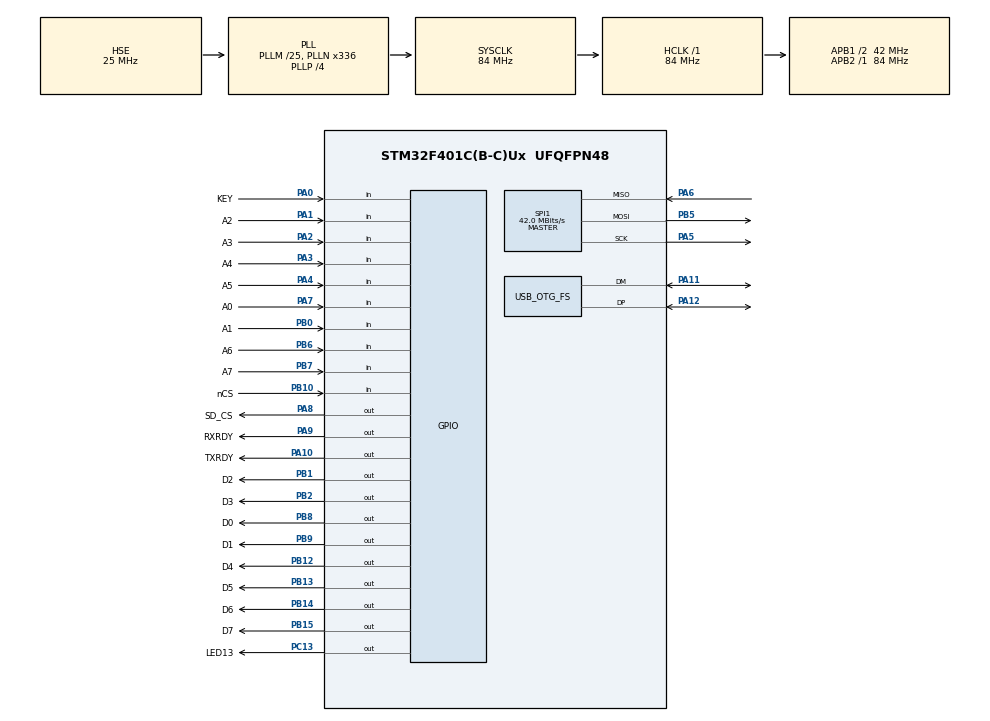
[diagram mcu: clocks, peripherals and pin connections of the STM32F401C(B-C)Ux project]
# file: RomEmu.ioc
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Mcu.Family=STM32F4
Mcu.Name=STM32F401C(B-C)Ux
Mcu.Package=UFQFPN48
NVIC.OTG_FS_IRQn=true\:0\:0\:false\:false\:true\:false\:true\:true
NVIC.PriorityGroup=NVIC_PRIORITYGROUP_4
PA0-WKUP.GPIO_Label=KEY
PA0-WKUP.GPIO_PuPd=GPIO_PULLUP
PA0-WKUP.Signal=GPIO_Input
PA1.GPIO_Label=A2
PA1.Signal=GPIO_Input
PA10.GPIO_Label=TXRDY
PA10.GPIO_Speed=GPIO_SPEED_FREQ_LOW
PA10.PinState=GPIO_PIN_SET
PA10.Signal=GPIO_Output
PA11.Mode=Device_Only
PA11.Signal=USB_OTG_FS_DM
PA12.Mode=Device_Only
PA12.Signal=USB_OTG_FS_DP
PA13.Mode=Serial_Wire
PA13.Signal=SYS_JTMS-SWDIO
PA14.Mode=Serial_Wire
PA14.Signal=SYS_JTCK-SWCLK
PA2.GPIO_Label=A3
PA2.Signal=GPIO_Input
PA3.GPIO_Label=A4
PA3.Signal=GPIO_Input
PA4.GPIO_Label=A5
PA4.Signal=GPIO_Input
PA5.Mode=Full_Duplex_Master
PA5.Signal=SPI1_SCK
PA6.Mode=Full_Duplex_Master
PA6.Signal=SPI1_MISO
PA7.GPIO_Label=A0
PA7.Signal=GPIO_Input
PA8.GPIO_Label=SD_CS
PA8.GPIO_Speed=GPIO_SPEED_FREQ_HIGH
PA8.PinState=GPIO_PIN_SET
PA8.Signal=GPIO_Output
PA9.GPIO_Label=RXRDY
PA9.GPIO_Speed=GPIO_SPEED_FREQ_LOW
PA9.PinState=GPIO_PIN_SET
PA9.Signal=GPIO_Output
PB0.GPIO_Label=A1
PB0.Signal=GPIO_Input
PB1.GPIO_Label=D2
PB1.GPIO_Speed=GPIO_SPEED_FREQ_HIGH
PB1.Signal=GPIO_Output
PB10.GPIO_Label=nCS
PB10.GPIO_PuPd=GPIO_PULLUP
PB10.Signal=GPIO_Input
PB12.GPIO_Label=D4
PB12.GPIO_Speed=GPIO_SPEED_FREQ_HIGH
PB12.Signal=GPIO_Output
PB13.GPIO_Label=D5
PB13.GPIO_Speed=GPIO_SPEED_FREQ_HIGH
PB13.Signal=GPIO_Output
PB14.GPIO_Label=D6
PB14.GPIO_Speed=GPIO_SPEED_FREQ_HIGH
PB14.Signal=GPIO_Output
PB15.GPIO_Label=D7
PB15.GPIO_Speed=GPIO_SPEED_FREQ_HIGH
PB15.Signal=GPIO_Output
PB2.GPIO_Label=D3
PB2.GPIO_Speed=GPIO_SPEED_FREQ_HIGH
PB2.Signal=GPIO_Output
PB5.Mode=Full_Duplex_Master
PB5.Signal=SPI1_MOSI
PB6.GPIO_Label=A6
PB6.Signal=GPIO_Input
PB7.GPIO_Label=A7
PB7.Signal=GPIO_Input
PB8.GPIO_Label=D0
PB8.GPIO_Speed=GPIO_SPEED_FREQ_HIGH
PB8.Signal=GPIO_Output
PB9.GPIO_Label=D1
PB9.GPIO_Speed=GPIO_SPEED_FREQ_HIGH
PB9.Signal=GPIO_Output
PC13-ANTI_TAMP.GPIO_Label=LED13
PC13-ANTI_TAMP.PinState=GPIO_PIN_SET
PC13-ANTI_TAMP.Signal=GPIO_Output
PC14-OSC32_IN.Mode=LSE-External-Oscillator
PC14-OSC32_IN.Signal=RCC_OSC32_IN
PC15-OSC32_OUT.Mode=LSE-External-Oscillator
PC15-OSC32_OUT.Signal=RCC_OSC32_OUT
PH0\ -\ OSC_IN.Mode=HSE-External-Oscillator
PH0\ -\ OSC_IN.Signal=RCC_OSC_IN
PH1\ -\ OSC_OUT.Mode=HSE-External-Oscillator
PH1\ -\ OSC_OUT.Signal=RCC_OSC_OUT
ProjectManager.HeapSize=0x200
ProjectManager.StackSize=0x400
ProjectManager.TargetToolchain=STM32CubeIDE
RCC.48MHZClocksFreq_Value=48000000
RCC.AHBFreq_Value=84000000
RCC.APB1CLKDivider=RCC_HCLK_DIV2
RCC.APB1Freq_Value=42000000
RCC.APB1TimFreq_Value=84000000
RCC.APB2Freq_Value=84000000
RCC.APB2TimFreq_Value=84000000
RCC.CortexFreq_Value=84000000
RCC.HCLKFreq_Value=84000000
RCC.HSE_VALUE=25000000
RCC.HSI_VALUE=16000000
RCC.PLLM=25
RCC.PLLN=336
RCC.PLLP=RCC_PLLP_DIV4
RCC.PLLQ=7
RCC.RCC_RTC_Clock_Source=RCC_RTCCLKSOURCE_LSE
RCC.RCC_RTC_Clock_SourceVirtual=RCC_RTCCLKSOURCE_LSE
RCC.SYSCLKFreq_VALUE=84000000
RCC.SYSCLKSource=RCC_SYSCLKSOURCE_PLLCLK
RCC.VCOOutputFreq_Value=336000000
SPI1.CalculateBaudRate=42.0 MBits/s
SPI1.Direction=SPI_DIRECTION_2LINES
SPI1.Mode=SPI_MODE_MASTER
SPI1.VirtualType=VM_MASTER
USB_DEVICE.CLASS_NAME_FS=CDC
USB_DEVICE.VirtualMode=Cdc
USB_DEVICE.VirtualModeFS=Cdc_FS
USB_OTG_FS.VirtualMode=Device_Only
VP_RTC_VS_RTC_Activate.Mode=RTC_Enabled
VP_RTC_VS_RTC_Calendar.Mode=RTC_Calendar
VP_USB_DEVICE_VS_USB_DEVICE_CDC_FS.Mode=CDC_FS
board=custom

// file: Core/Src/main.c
/* USER CODE BEGIN Header */
/**
 ******************************************************************************
 * @file           : main.c
 * @brief          : Main program body
 ******************************************************************************
 * @attention
 *
 * Copyright (c) 2023 STMicroelectronics.
 * All rights reserved.
 *
 * This software is licensed under terms that can be found in the LICENSE file
 * in the root directory of this software component.
 * If no LICENSE file comes with this software, it is provided AS-IS.
 *
 ******************************************************************************
 */
/* USER CODE END Header */
#include "main.h"
#include "usb_device.h"

/* USER CODE BEGIN Includes */
#include "../../USB_DEVICE/App/usbd_cdc_if.h"

/* USER CODE END Includes */

RTC_HandleTypeDef hrtc;

SPI_HandleTypeDef hspi1;

/* USER CODE BEGIN PV */
uint8_t RxBuffer[APP_RX_DATA_SIZE];
uint8_t TxBuf[1];
volatile uint32_t ComBufferLength = 0;
uint32_t ComBufferPos = 0;
extern USBD_HandleTypeDef hUsbDeviceFS;

/* USER CODE END PV */

void SystemClock_Config(void);
static void MX_GPIO_Init(void);
static void MX_SPI1_Init(void);
static void MX_RTC_Init(void);

/* USER CODE BEGIN 0 */
void SdCardSoft ()
{

}

uint8_t sd_init();
void error();

uint8_t bFsReady = 0;
/* USER CODE END 0 */

int main(void)
{

  /* MCU Configuration--------------------------------------------------------*/

  /* Reset of all peripherals, Initializes the Flash interface and the Systick. */
  HAL_Init();

  /* Configure the system clock */
  SystemClock_Config();

  /* Initialize all configured peripherals */
  MX_GPIO_Init();
  MX_USB_DEVICE_Init();
  MX_SPI1_Init();
  MX_RTC_Init();
  /* USER CODE BEGIN 2 */
  if (sd_init())
    error ();
  /* USER CODE END 2 */

  /* Infinite loop */
  /* USER CODE BEGIN WHILE */
#define CLIENT_RTS A1_Pin
#define CLIENT_RTS_PORT A1_GPIO_Port
#define CLIENT_RTR A0_Pin
#define CLIENT_RTR_PORT A0_GPIO_Port

#define ROM_EMULATION 0

  HAL_GPIO_WritePin (RXRDY_GPIO_Port, RXRDY_Pin | TXRDY_Pin, 1);
  //while ((GPIOB->IDR & (CLIENT_RTS | CLIENT_RTR)) != (CLIENT_RTS | CLIENT_RTR)) ;
  HAL_GPIO_WritePin (GPIOC, LED13_Pin, 0);
  int32_t counter = 0;
  GPIO_PinState key = HAL_GPIO_ReadPin (KEY_GPIO_Port, KEY_Pin);
#if !ROM_EMULATION
  uint8_t bFrom_nCS = 0;
  DATA_BUS_IN ();
#endif

  uint8_t bRkSd = key != 0;
  if (bRkSd)
    RkSd_main();
  MX_USB_DEVICE_Init();
  void InitWB_Ring();
  if (!bRkSd)
  {
    bFsReady = 1;
    InitWB_Ring();
  }

  while (1)
  {
    /* USER CODE END WHILE */

    /* USER CODE BEGIN 3 */
#if !ROM_EMULATION
#if 1
    uint8_t RkSd_Loop();
    static uint32_t addr = 0;
    //while (1)
    {
      static uint32_t lastAddr = 0;

      static uint32_t oldAddr = -1;
      //DATA_BUS_OUT();
      addr = READ_ADDR ();
      if (addr == 0x7E/* && oldAddr != addr*/)
      {
check_addr:
	DATA_BUS_OUT ();
	oldAddr = 0;
	while (1)
	{
	  addr = READ_ADDR ();
	  if (oldAddr == addr)
	    continue;
	  oldAddr = addr;
	  if (addr == 0x7F)
	  {
	    WRITE_DATA (0xAA);
	    lastAddr = addr;
	  }
	  else if (addr == 0x7E)
	  {
	    WRITE_DATA (0x55);
	  }
	  else if (addr == 0x44)
	  {
	    lastAddr = 0x44;
	  }
	  else if (addr == 0x40)
	  {
	    if (lastAddr == 0x44)
	      lastAddr = 0x40;
	    else
	    {
	      lastAddr = 0;
	      break;
	    }
	  }
	  else if (addr == 0)
	  {
	    if (lastAddr == 0x40)
	    {
	      //RkSd_main();
	      //MX_USB_DEVICE_Deinit ();
	      while (RkSd_Loop ())
		;
	      MX_USB_DEVICE_Init ();
	      break;
	    }
	    else if (lastAddr != 0x7F)
	    {
	      lastAddr = 0;
	      break;
	    }
	  }
	}
      }
      DATA_BUS_IN ();
    }
#endif
    // if nCS is high - release the bus
    void rb_write_rec();
    rb_write_rec();
    if (nCS_GPIO_Port->IDR & nCS_Pin)
    {
      if (!bFrom_nCS)
      {
	DATA_BUS_IN ();
	GPIO_InitTypeDef GPIO_InitStruct =
	  { 0 };
	GPIO_InitStruct.Pin = RXRDY_Pin | TXRDY_Pin;
	GPIO_InitStruct.Mode = GPIO_MODE_INPUT;
	GPIO_InitStruct.Pull = GPIO_NOPULL;
	HAL_GPIO_Init (GPIOA, &GPIO_InitStruct);
      }
      bFrom_nCS = 1;
      continue;

    }
    if (bFrom_nCS)
    {
      bFrom_nCS = 0;
    }
    HAL_GPIO_WritePin (RXRDY_GPIO_Port, RXRDY_Pin | TXRDY_Pin, 1);
    if ((CLIENT_RTS_PORT->IDR & CLIENT_RTS) != 0 && (CLIENT_RTR_PORT->IDR & CLIENT_RTR) != 0)
    {
      //MX_USB_DEVICE_Deinit ();
      //RkSd_main();
      while (RkSd_Loop ())
	;
      MX_USB_DEVICE_Init();
      continue;
    }
    if ((CLIENT_RTS_PORT->IDR & CLIENT_RTS) != 0)
    {
      // Receive a byte from client
      HAL_GPIO_WritePin (TXRDY_GPIO_Port, TXRDY_Pin, 0);
      while ((CLIENT_RTS_PORT->IDR & CLIENT_RTS) != 0)
	; // Wait for client writes data
      TxBuf[0] = READ_DATA ();
      HAL_GPIO_WritePin (TXRDY_GPIO_Port, TXRDY_Pin, 1);
      uint8_t res = 0;
      //uint8_t nTry = 10;
      do
      {
	res = CDC_Transmit_FS (TxBuf, 1);
	addr = READ_ADDR ();
	if (addr == 0x7E)
	  goto check_addr;
      }
      while ((res != USBD_OK)/* && (--nTry != 0)*/);
    }
    else if ((CLIENT_RTR_PORT->IDR & CLIENT_RTR) != 0 && ComBufferLength != 0)
    {
      // Send a byte to client
      uint8_t val = RxBuffer[ComBufferPos++];
      ComBufferLength--;
      if (ComBufferLength == 0)
	USBD_CDC_ReceivePacket (&hUsbDeviceFS);
      DATA_BUS_OUT ();
      WRITE_DATA (val);
      HAL_GPIO_WritePin (RXRDY_GPIO_Port, RXRDY_Pin, 0);
      while ((CLIENT_RTR_PORT->IDR & CLIENT_RTR) != 0)
	;
      DATA_BUS_IN ();
    }
#else
		static uint32_t oldAddr = -1;
		int32_t pa = GPIOA->IDR;// & (0b1110));
		uint32_t pb = GPIOB->IDR;// & 0b11100011);
		//               D7,D6                D1                D0                      D5-D2
		//               B7,B6                B0                A7                      A4-A1
		uint32_t addr = (pb & 0b11000000) | ((pb & 1) << 1) | ((pa & 0b10000000)>>7) | ((pa & 0b11110)<<1);
		uint32_t val = 255-addr;
		if (oldAddr != addr)
		{
			//val |= 0b10000;
			uint32_t portVal = ((val & 0b11110011) << 8) | ((val & 0b1100) >> 1);
			GPIOB->ODR = portVal;
			oldAddr = addr;
		}
#endif
    if (counter++ % 100000 == 0)
      HAL_GPIO_TogglePin (GPIOC, LED13_Pin);
  }
  /* USER CODE END 3 */
}

void SystemClock_Config(void)
{
  RCC_OscInitTypeDef RCC_OscInitStruct = {0};
  RCC_ClkInitTypeDef RCC_ClkInitStruct = {0};

  /** Configure the main internal regulator output voltage
  */
  __HAL_RCC_PWR_CLK_ENABLE();
  __HAL_PWR_VOLTAGESCALING_CONFIG(PWR_REGULATOR_VOLTAGE_SCALE2);

  /** Initializes the RCC Oscillators according to the specified parameters
  * in the RCC_OscInitTypeDef structure.
  */
  RCC_OscInitStruct.OscillatorType = RCC_OSCILLATORTYPE_HSE|RCC_OSCILLATORTYPE_LSE;
  RCC_OscInitStruct.HSEState = RCC_HSE_ON;
  RCC_OscInitStruct.LSEState = RCC_LSE_ON;
  RCC_OscInitStruct.PLL.PLLState = RCC_PLL_ON;
  RCC_OscInitStruct.PLL.PLLSource = RCC_PLLSOURCE_HSE;
  RCC_OscInitStruct.PLL.PLLM = 25;
  RCC_OscInitStruct.PLL.PLLN = 336;
  RCC_OscInitStruct.PLL.PLLP = RCC_PLLP_DIV4;
  RCC_OscInitStruct.PLL.PLLQ = 7;
  if (HAL_RCC_OscConfig(&RCC_OscInitStruct) != HAL_OK)
  {
    Error_Handler();
  }

  /** Initializes the CPU, AHB and APB buses clocks
  */
  RCC_ClkInitStruct.ClockType = RCC_CLOCKTYPE_HCLK|RCC_CLOCKTYPE_SYSCLK
                              |RCC_CLOCKTYPE_PCLK1|RCC_CLOCKTYPE_PCLK2;
  RCC_ClkInitStruct.SYSCLKSource = RCC_SYSCLKSOURCE_PLLCLK;
  RCC_ClkInitStruct.AHBCLKDivider = RCC_SYSCLK_DIV1;
  RCC_ClkInitStruct.APB1CLKDivider = RCC_HCLK_DIV2;
  RCC_ClkInitStruct.APB2CLKDivider = RCC_HCLK_DIV1;

  if (HAL_RCC_ClockConfig(&RCC_ClkInitStruct, FLASH_LATENCY_2) != HAL_OK)
  {
    Error_Handler();
  }
}

static void MX_RTC_Init(void)
{

  //RTC_TimeTypeDef sTime = {0};
  //RTC_DateTypeDef sDate = {0};

  /** Initialize RTC Only
  */
  hrtc.Instance = RTC;
  hrtc.Init.HourFormat = RTC_HOURFORMAT_24;
  hrtc.Init.AsynchPrediv = 127;
  hrtc.Init.SynchPrediv = 255;
  hrtc.Init.OutPut = RTC_OUTPUT_DISABLE;
  hrtc.Init.OutPutPolarity = RTC_OUTPUT_POLARITY_HIGH;
  hrtc.Init.OutPutType = RTC_OUTPUT_TYPE_OPENDRAIN;
  if (HAL_RTC_Init(&hrtc) != HAL_OK)
  {
    Error_Handler();
  }
  HAL_RTCEx_SetSmoothCalib(&hrtc, RTC_SMOOTHCALIB_PERIOD_32SEC, RTC_SMOOTHCALIB_PLUSPULSES_SET, 273);

  /** Initialize RTC and set the Time and Date
  */
/*
  sTime.Hours = 0x0;
  sTime.Minutes = 0x0;
  sTime.Seconds = 0x0;
  sTime.DayLightSaving = RTC_DAYLIGHTSAVING_NONE;
  sTime.StoreOperation = RTC_STOREOPERATION_RESET;
  if (HAL_RTC_SetTime(&hrtc, &sTime, RTC_FORMAT_BCD) != HAL_OK)
  {
    Error_Handler();
  }
  sDate.WeekDay = RTC_WEEKDAY_MONDAY;
  sDate.Month = RTC_MONTH_JANUARY;
  sDate.Date = 0x1;
  sDate.Year = 0x0;

  if (HAL_RTC_SetDate(&hrtc, &sDate, RTC_FORMAT_BCD) != HAL_OK)
  {
    Error_Handler();
  }
*/

}

static void MX_SPI1_Init(void)
{

  /* SPI1 parameter configuration*/
  hspi1.Instance = SPI1;
  hspi1.Init.Mode = SPI_MODE_MASTER;
  hspi1.Init.Direction = SPI_DIRECTION_2LINES;
  hspi1.Init.DataSize = SPI_DATASIZE_8BIT;
  hspi1.Init.CLKPolarity = SPI_POLARITY_LOW;
  hspi1.Init.CLKPhase = SPI_PHASE_1EDGE;
  hspi1.Init.NSS = SPI_NSS_SOFT;
  hspi1.Init.BaudRatePrescaler = SPI_BAUDRATEPRESCALER_2;
  hspi1.Init.FirstBit = SPI_FIRSTBIT_MSB;
  hspi1.Init.TIMode = SPI_TIMODE_DISABLE;
  hspi1.Init.CRCCalculation = SPI_CRCCALCULATION_DISABLE;
  hspi1.Init.CRCPolynomial = 10;
  if (HAL_SPI_Init(&hspi1) != HAL_OK)
  {
    Error_Handler();
  }

}

static void MX_GPIO_Init(void)
{
  GPIO_InitTypeDef GPIO_InitStruct = {0};

  /* GPIO Ports Clock Enable */
  __HAL_RCC_GPIOC_CLK_ENABLE();
  __HAL_RCC_GPIOH_CLK_ENABLE();
  __HAL_RCC_GPIOA_CLK_ENABLE();
  __HAL_RCC_GPIOB_CLK_ENABLE();

  /*Configure GPIO pin Output Level */
  HAL_GPIO_WritePin(LED13_GPIO_Port, LED13_Pin, GPIO_PIN_SET);

  /*Configure GPIO pin Output Level */
//  HAL_GPIO_WritePin(GPIOB, D2_Pin|D3_Pin|D4_Pin|D5_Pin
//                          |D6_Pin|D7_Pin|D0_Pin|D1_Pin, GPIO_PIN_RESET);

  /*Configure GPIO pin Output Level */
  HAL_GPIO_WritePin(GPIOA, SD_CS_Pin|RXRDY_Pin|TXRDY_Pin, GPIO_PIN_SET);

  /*Configure GPIO pin : LED13_Pin */
  GPIO_InitStruct.Pin = LED13_Pin;
  GPIO_InitStruct.Mode = GPIO_MODE_OUTPUT_PP;
  GPIO_InitStruct.Pull = GPIO_NOPULL;
  GPIO_InitStruct.Speed = GPIO_SPEED_FREQ_LOW;
  HAL_GPIO_Init(LED13_GPIO_Port, &GPIO_InitStruct);

  /*Configure GPIO pin : KEY_Pin */
  GPIO_InitStruct.Pin = KEY_Pin;
  GPIO_InitStruct.Mode = GPIO_MODE_INPUT;
  GPIO_InitStruct.Pull = GPIO_PULLUP;
  HAL_GPIO_Init(KEY_GPIO_Port, &GPIO_InitStruct);

  /*Configure GPIO pins : A2_Pin A3_Pin A4_Pin A5_Pin
                           A0_Pin */
  GPIO_InitStruct.Pin = A2_Pin|A3_Pin|A4_Pin|A5_Pin
                          |A0_Pin;
  GPIO_InitStruct.Mode = GPIO_MODE_INPUT;
  GPIO_InitStruct.Pull = GPIO_NOPULL;
  HAL_GPIO_Init(GPIOA, &GPIO_InitStruct);

  /*Configure GPIO pins : A1_Pin A6_Pin A7_Pin */
  GPIO_InitStruct.Pin = A1_Pin|A6_Pin|A7_Pin;
  GPIO_InitStruct.Mode = GPIO_MODE_INPUT;
  GPIO_InitStruct.Pull = GPIO_NOPULL;
  HAL_GPIO_Init(GPIOB, &GPIO_InitStruct);

  /*Configure GPIO pins : D2_Pin D3_Pin D4_Pin D5_Pin
                           D6_Pin D7_Pin D0_Pin D1_Pin */
  GPIO_InitStruct.Pin = D2_Pin|D3_Pin|D4_Pin|D5_Pin
                          |D6_Pin|D7_Pin|D0_Pin|D1_Pin;
  GPIO_InitStruct.Mode = GPIO_MODE_INPUT;
  GPIO_InitStruct.Pull = GPIO_NOPULL;
  GPIO_InitStruct.Speed = GPIO_SPEED_FREQ_HIGH;
  HAL_GPIO_Init(GPIOB, &GPIO_InitStruct);

  /*Configure GPIO pin : nCS_Pin */
  GPIO_InitStruct.Pin = nCS_Pin;
  GPIO_InitStruct.Mode = GPIO_MODE_INPUT;
  GPIO_InitStruct.Pull = GPIO_PULLUP;
  HAL_GPIO_Init(nCS_GPIO_Port, &GPIO_InitStruct);

  /*Configure GPIO pin : SD_CS_Pin */
  GPIO_InitStruct.Pin = SD_CS_Pin;
  GPIO_InitStruct.Mode = GPIO_MODE_OUTPUT_PP;
  GPIO_InitStruct.Pull = GPIO_NOPULL;
  GPIO_InitStruct.Speed = GPIO_SPEED_FREQ_HIGH;
  HAL_GPIO_Init(SD_CS_GPIO_Port, &GPIO_InitStruct);

  /*Configure GPIO pins : RXRDY_Pin TXRDY_Pin */
  GPIO_InitStruct.Pin = RXRDY_Pin|TXRDY_Pin;
  GPIO_InitStruct.Mode = GPIO_MODE_OUTPUT_PP;
  GPIO_InitStruct.Pull = GPIO_NOPULL;
  GPIO_InitStruct.Speed = GPIO_SPEED_FREQ_LOW;
  HAL_GPIO_Init(GPIOA, &GPIO_InitStruct);

#ifdef USE_DMA
  GPIO_InitStruct.Pin = A2_Pin; //DRQ_Pin;
  GPIO_InitStruct.Mode = GPIO_MODE_OUTPUT_PP;
  GPIO_InitStruct.Pull = GPIO_NOPULL;
  GPIO_InitStruct.Speed = GPIO_SPEED_FREQ_HIGH;
  HAL_GPIO_Init (A2_GPIO_Port, &GPIO_InitStruct);
#endif

}

void Error_Handler(void)
{
  /* USER CODE BEGIN Error_Handler_Debug */
  /* User can add his own implementation to report the HAL error return state */
  __disable_irq ();
  while (1)
  {
  }
  /* USER CODE END Error_Handler_Debug */
}
